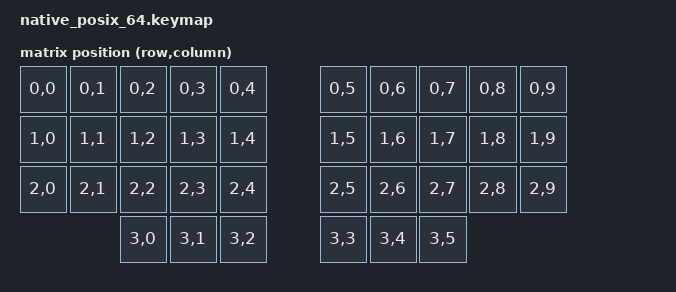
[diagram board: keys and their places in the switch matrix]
#include <dt-bindings/zmk/matrix_transform.h>
#include <dt-bindings/zmk/kscan_mock.h>

/ {
    chosen {
        zmk,matrix-transform = &transform;
    };

    /* op36 position N is RC(N/10, N%10); thumbs 30..35 are row 3. */
    transform: keymap_transform {
        compatible = "zmk,matrix-transform";
        columns = <10>;
        rows = <4>;
        map = <
            RC(0,0) RC(0,1) RC(0,2) RC(0,3) RC(0,4) RC(0,5) RC(0,6) RC(0,7) RC(0,8) RC(0,9)
            RC(1,0) RC(1,1) RC(1,2) RC(1,3) RC(1,4) RC(1,5) RC(1,6) RC(1,7) RC(1,8) RC(1,9)
            RC(2,0) RC(2,1) RC(2,2) RC(2,3) RC(2,4) RC(2,5) RC(2,6) RC(2,7) RC(2,8) RC(2,9)
            RC(3,0) RC(3,1) RC(3,2) RC(3,3) RC(3,4) RC(3,5)
        >;
    };
};

&kscan {
    rows = <4>;
    columns = <10>;
    events = <
        /* lead-in so require-prior-idle-ms sees real idle time */
        ZMK_MOCK_PRESS(0,1,10)
        ZMK_MOCK_RELEASE(0,1,400)

        /* Enter (pos 33) is on the RIGHT half, so it must be chorded with the
           LEFT Cmd (T, pos 13) to satisfy the opposite-hand rule. Repeated at
           300, 150, 80 ms. */
        ZMK_MOCK_PRESS(1,3,20)
        ZMK_MOCK_PRESS(3,3,30)
        ZMK_MOCK_RELEASE(3,3,20)
        ZMK_MOCK_RELEASE(1,3,300)

        ZMK_MOCK_PRESS(1,3,20)
        ZMK_MOCK_PRESS(3,3,30)
        ZMK_MOCK_RELEASE(3,3,20)
        ZMK_MOCK_RELEASE(1,3,150)

        ZMK_MOCK_PRESS(1,3,20)
        ZMK_MOCK_PRESS(3,3,30)
        ZMK_MOCK_RELEASE(3,3,20)
        ZMK_MOCK_RELEASE(1,3,80)

        ZMK_MOCK_PRESS(1,3,20)
        ZMK_MOCK_PRESS(3,3,30)
        ZMK_MOCK_RELEASE(3,3,20)
        ZMK_MOCK_RELEASE(1,3,150)
    >;
};

#include "/cfg/op36_ruen.keymap"
